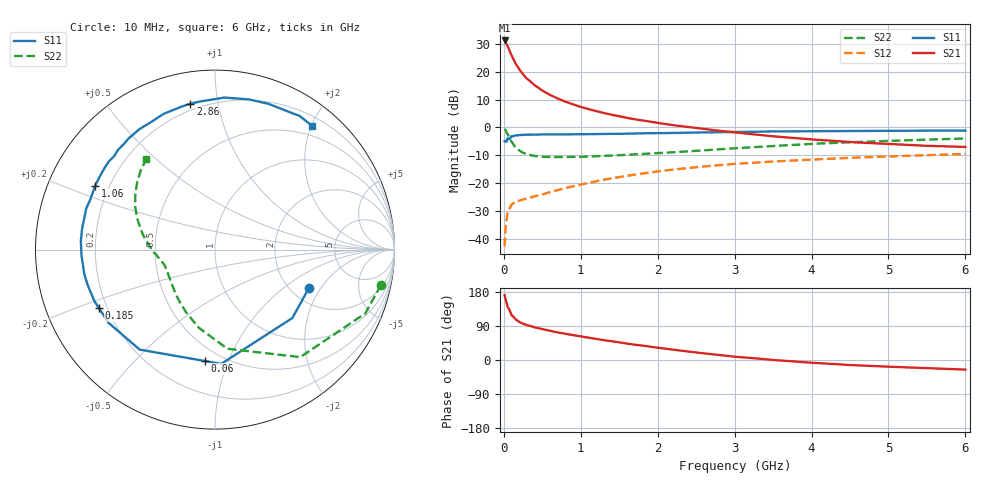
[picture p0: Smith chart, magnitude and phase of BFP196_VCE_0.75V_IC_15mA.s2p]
! Infineon Technologies  Discrete & RF Semiconductors
! BFP196
! VCE = 0.75V,  IC =  15mA
! Common Emitter S-Parameters:  Jan 2016
# GHz  S  MA  R  50
!  f  S11  S21  S12  S22
! GHz  MAG  ANG  MAG  ANG  MAG  ANG  MAG  ANG
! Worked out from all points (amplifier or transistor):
!   210 points, 10 MHz to 6 GHz, reference 50 ohm
!   highest |S21| = 31.3 dB at 10 MHz (marker M1)
!   |S21| within 3 dB of that: start of sweep to 64.32 MHz
!   unconditionally stable (mu >= 1): 696 MHz to end of sweep
!   at 185 MHz: K = 0.41, MSG = 24.0 dB, |S12| = -26.5 dB
!   at 1.52 GHz: K = 1.15, MAG = 8.5 dB, |S12| = -17.8 dB
!   at 6 GHz: K = 1.03, MAG = 0.3 dB, |S12| = -9.5 dB
!   S11 on the Smith chart (normalised r, x): 10 MHz: 2.50, -1.56; 60 MHz: 0.41, -0.83; 185 MHz: 0.17, -0.23; 1.06 GHz: 0.15, +0.24; 2.86 GHz: 0.16, +0.83; 6 GHz: 0.34, +2.00
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0.01  0.5654 -22.1  36.79 171.3  0.0073 81.2  0.9457 -12.0
0.02  0.5754 -41.5  34.92 161.5  0.0144 74.0  0.9097 -23.0
0.05  0.6376 -86.9  28.99 139.9  0.03 55.2  0.7647 -51.6
0.06  0.6233 -95.2  26.92 136.9  0.032 51.3  0.7092 -56.3
0.1  0.6976 -127.0  19.78 118.7  0.0409 39.8  0.5564 -82.9
0.15  0.7199 -145.5  14.27 107.5  0.0458 34.5  0.4449 -101.6
0.185  0.7243 -153.3  12.05 102.9  0.0475 33.4  0.401 -110.3
0.2  0.7302 -156.6  11.13 100.4  0.0483 32.9  0.3855 -114.6
0.24  0.7344 -162.8  9.403 96.7  0.0499 32.8  0.3561 -122.4
0.3  0.7407 -169.7  7.559 91.9  0.0528 34.4  0.3311 -131.5
0.4  0.7449 -177.9  5.746 86.2  0.0576 36.8  0.3072 -141.6
0.5  0.7489 176.3  4.606 81.4  0.0623 39.2  0.2974 -148.5
0.7  0.749 166.0  3.317 72.6  0.0741 43.3  0.2927 -156.9
1.02  0.754 153.3  2.301 61.6  0.095 46.0  0.2968 -164.3
1.06  0.7557 152.0  2.218 60.2  0.0977 46.1  0.2986 -165.0
1.4  0.7689 140.3  1.69 49.6  0.121 45.7  0.3117 -170.2
2.02  0.7921 121.5  1.194 31.9  0.1631 40.8  0.3463 -179.1
2.86  0.8236 99.6  0.856 11.8  0.2132 31.3  0.4097 168.3
3.1  0.8308 94.3  0.788 7.2  0.2254 28.1  0.4289 164.6
4.1  0.8581 75.9  0.596 -8.4  0.2681 16.5  0.5138 150.0
5.1  0.87 62.2  0.496 -18.4  0.3042 5.6  0.5795 137.8
6  0.8766 52.0  0.446 -25.3  0.3341 -4.5  0.6326 127.2
